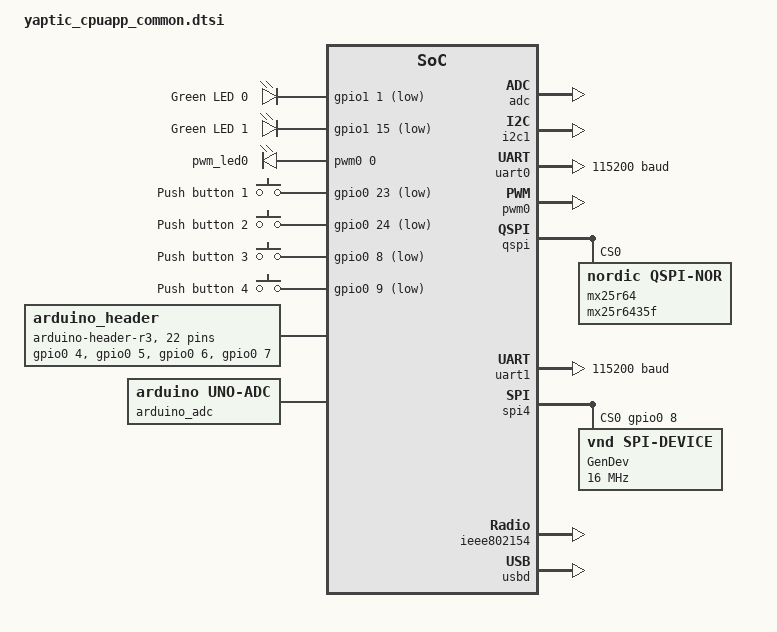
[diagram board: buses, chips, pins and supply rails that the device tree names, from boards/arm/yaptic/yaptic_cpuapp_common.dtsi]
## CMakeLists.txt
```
cmake_minimum_required(VERSION 3.20.0)

find_package(Zephyr REQUIRED HINTS $ENV{ZEPHYR_BASE})

project(simple-bmv080-connection)

# --- Source Files and Include Directories ---

target_include_directories(app PRIVATE
    src
    lib/arm_cortex_m33f
    lib
    )

target_sources(app PRIVATE
    src/main.c
    lib/i2c.c
    )

target_link_libraries(app PRIVATE
    ${CMAKE_SOURCE_DIR}/lib/arm_cortex_m33f/lib_bmv080.a
    ${CMAKE_SOURCE_DIR}/lib/arm_cortex_m33f/lib_postProcessor.a
    )
```

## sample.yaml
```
project:
  name: simple-bmv080-connection
```

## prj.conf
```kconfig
# --- Core System & Output ---
CONFIG_CONSOLE=y
CONFIG_STDOUT_CONSOLE=y
CONFIG_PRINTK=y

# --- Hardware Drivers ---
CONFIG_I2C=y
CONFIG_GPIO=y

# --- Floating Point Support ---
CONFIG_FP_HARDABI=y
CONFIG_FPU=y
CONFIG_FPU_SHARING=y

# --- Serial Communication ---
CONFIG_SERIAL=y
CONFIG_UART_CONSOLE=y
CONFIG_UART_INTERRUPT_DRIVEN=y

# --- Logging ---
CONFIG_LOG=y
CONFIG_LOG_PRINTK=y
CONFIG_LOG_MODE_IMMEDIATE=y
```

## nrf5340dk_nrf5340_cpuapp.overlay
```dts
/*
 * Devicetree overlay for the Bosch BMV080 Particulate Matter Sensor
 */

// &pinctrl {
//     i2c1_default: i2c1_default {
//         group1 {
//             psels = <NRF_PSEL(TWIM_SDA, 1, 2)>, /* P1.02 */
//                     <NRF_PSEL(TWIM_SCL, 1, 3)>; /* P1.03 */
//         };
//     };
// };

&i2c1 {
    compatible = "nordic,nrf-twim";
    status = "okay";
    pinctrl-0 = <&i2c1_default>;
    pinctrl-1 = <&i2c1_sleep>;
    pinctrl-names = "default", "sleep";

    /* This is your I2C sensor node */
    bmv080_node: bmv080@54 {
        compatible = "bosch,i2c-device";
        reg = <0x54>; /* This is the 7-bit I2C address */
        status = "okay";
    };
};

/ {
    aliases {
        bmv080 = &bmv080_node;
    };
};
```

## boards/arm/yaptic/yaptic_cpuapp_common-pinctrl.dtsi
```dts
/*
 * Copyright (c) 2022 Nordic Semiconductor
 * SPDX-License-Identifier: Apache-2.0
 */

&pinctrl {
i2c1_default: i2c1_default {
		group1 {
			psels = <NRF_PSEL(TWIM_SDA, 1, 2)>,
				<NRF_PSEL(TWIM_SCL, 1, 3)>;
		};
	};

	i2c1_sleep: i2c1_sleep {
		group1 {
			psels = <NRF_PSEL(TWIM_SDA, 1, 2)>,
				<NRF_PSEL(TWIM_SCL, 1, 3)>;
			low-power-enable;
		};
	};

	uart0_default: uart0_default {
		group1 {
			psels = <NRF_PSEL(UART_TX, 0, 20)>,
				<NRF_PSEL(UART_RTS, 0, 19)>;
		};
		group2 {
			psels = <NRF_PSEL(UART_RX, 0, 22)>,
				<NRF_PSEL(UART_CTS, 0, 21)>;
			bias-pull-up;
		};
	};

	uart0_sleep: uart0_sleep {
		group1 {
			psels = <NRF_PSEL(UART_TX, 0, 20)>,
				<NRF_PSEL(UART_RX, 0, 22)>,
				<NRF_PSEL(UART_RTS, 0, 19)>,
				<NRF_PSEL(UART_CTS, 0, 21)>;
			low-power-enable;
		};
	};

	pwm0_default: pwm0_default {
		group1 {
			psels = <NRF_PSEL(PWM_OUT0, 0, 6)>; //pwm output channel 0 to gpio channel 1 pin 1
		};
	};

	pwm0_sleep: pwm0_sleep {
		group1 {
			psels = <NRF_PSEL(PWM_OUT0, 0, 6)>; 
			low-power-enable;
		};
	};

	qspi_default: qspi_default {
		group1 {
			psels = <NRF_PSEL(QSPI_SCK, 0, 17)>,
				<NRF_PSEL(QSPI_IO0, 0, 13)>,
				<NRF_PSEL(QSPI_IO1, 0, 14)>,
				<NRF_PSEL(QSPI_IO2, 0, 15)>,
				<NRF_PSEL(QSPI_IO3, 0, 16)>,
				<NRF_PSEL(QSPI_CSN, 0, 18)>;
			nordic,drive-mode = <NRF_DRIVE_H0H1>;
		};
	};

	qspi_sleep: qspi_sleep {
		group1 {
			psels = <NRF_PSEL(QSPI_SCK, 0, 17)>,
				<NRF_PSEL(QSPI_IO0, 0, 13)>,
				<NRF_PSEL(QSPI_IO1, 0, 14)>,
				<NRF_PSEL(QSPI_IO2, 0, 15)>,
				<NRF_PSEL(QSPI_IO3, 0, 16)>;
			low-power-enable;
		};
		group2 {
			psels = <NRF_PSEL(QSPI_CSN, 0, 18)>;
			low-power-enable;
			bias-pull-up;
		};
	};

	uart1_default: uart1_default {
		group1 {
			psels = <NRF_PSEL(UART_TX, 1, 1)>,
				<NRF_PSEL(UART_RTS, 0, 11)>;
		};
		group2 {
			psels = <NRF_PSEL(UART_RX, 1, 0)>,
				<NRF_PSEL(UART_CTS, 0, 10)>;
			bias-pull-up;
		};
	};

	uart1_sleep: uart1_sleep {
		group1 {
			psels = <NRF_PSEL(UART_TX, 1, 1)>,
				<NRF_PSEL(UART_RX, 1, 0)>,
				<NRF_PSEL(UART_RTS, 0, 11)>,
				<NRF_PSEL(UART_CTS, 0, 10)>;
			low-power-enable;
		};
	};

	spi4_default: spi4_default {
		group1 {
			psels = <NRF_PSEL(SPIM_SCK, 1, 15)>,
				<NRF_PSEL(SPIM_MISO, 1, 14)>,
				<NRF_PSEL(SPIM_MOSI, 1, 13)>;
		};
	};

	spi4_sleep: spi4_sleep {
		group1 {
			psels = <NRF_PSEL(SPIM_SCK, 1, 15)>,
				<NRF_PSEL(SPIM_MISO, 1, 14)>,
				<NRF_PSEL(SPIM_MOSI, 1, 13)>;
			low-power-enable;
		};
	};
};
```

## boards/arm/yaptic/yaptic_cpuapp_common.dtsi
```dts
/*
 * Copyright (c) 2019-2020 Nordic Semiconductor ASA
 *
 * SPDX-License-Identifier: Apache-2.0
 */
#include "yaptic_cpuapp_common-pinctrl.dtsi"
#include <zephyr/dt-bindings/input/input-event-codes.h>

/ {

	chosen {
		zephyr,console = &uart0;
		zephyr,shell-uart = &uart0;
		zephyr,uart-mcumgr = &uart0;
		zephyr,bt-mon-uart = &uart0;
		zephyr,bt-c2h-uart = &uart0;
		zephyr,bt-hci-ipc = &ipc0;
		nordic,802154-spinel-ipc = &ipc0;
		zephyr,ieee802154 = &ieee802154;
	};

	leds {
		compatible = "gpio-leds";
		led0: led_0 {
			gpios = <&gpio1 1 GPIO_ACTIVE_LOW>;
			label = "Green LED 0";
		};
		led1: led_1 {
			gpios = <&gpio1 15 GPIO_ACTIVE_LOW>; 
			label = "Green LED 1";
		};
		/* commented out for the purpose of using the motor
		led2: led_2 {
			gpios = <&gpio0 30 GPIO_ACTIVE_LOW>;
			label = "Green LED 2";
		};
		led3: led_3 {
			gpios = <&gpio0 31 GPIO_ACTIVE_LOW>;
			label = "Green LED 3";
		};*/
	};

	pwmleds {
		compatible = "pwm-leds";
		pwm_led0: pwm_led_0 {
			pwms = <&pwm0 0 PWM_MSEC(20) PWM_POLARITY_INVERTED>;
		};
	};

	buttons {
		compatible = "gpio-keys";
		button0: button_0 {
			gpios = <&gpio0 23 (GPIO_PULL_UP | GPIO_ACTIVE_LOW)>;
			label = "Push button 1";
			zephyr,code = <INPUT_KEY_0>;
		};
		button1: button_1 {
			gpios = <&gpio0 24 (GPIO_PULL_UP | GPIO_ACTIVE_LOW)>;
			label = "Push button 2";
			zephyr,code = <INPUT_KEY_1>;
		};
		button2: button_2 {
			gpios = <&gpio0 8 (GPIO_PULL_UP | GPIO_ACTIVE_LOW)>;
			label = "Push button 3";
			zephyr,code = <INPUT_KEY_2>;
		};
		button3: button_3 {
			gpios = <&gpio0 9 (GPIO_PULL_UP | GPIO_ACTIVE_LOW)>;
			label = "Push button 4";
			zephyr,code = <INPUT_KEY_3>;
		};
	};

	arduino_header: connector {
		compatible = "arduino-header-r3";
		#gpio-cells = <2>;
		gpio-map-mask = <0xffffffff 0xffffffc0>;
		gpio-map-pass-thru = <0 0x3f>;
		gpio-map = <0 0 &gpio0 4 0>,	/* A0 */
			   <1 0 &gpio0 5 0>,	/* A1 */
			   <2 0 &gpio0 6 0>,	/* A2 */
			   <3 0 &gpio0 7 0>,	/* A3 */
			   <4 0 &gpio0 25 0>,	/* A4 */
			   <5 0 &gpio0 26 0>,	/* A5 */
			   <6 0 &gpio1 0 0>,	/* D0 */
			   <7 0 &gpio1 1 0>,	/* D1 */
			   <8 0 &gpio1 4 0>,	/* D2 */
			   <9 0 &gpio1 5 0>,	/* D3 */
			   <10 0 &gpio1 6 0>,	/* D4 */
			   <11 0 &gpio1 7 0>,	/* D5 */
			   <12 0 &gpio1 8 0>,	/* D6 */
			   <13 0 &gpio1 9 0>,	/* D7 */
			   <14 0 &gpio1 10 0>,	/* D8 */
			   <15 0 &gpio1 11 0>,	/* D9 */
			   <16 0 &gpio1 12 0>,	/* D10 */
			   <17 0 &gpio1 13 0>,	/* D11 */
			   <18 0 &gpio1 14 0>,	/* D12 */
			   <19 0 &gpio1 15 0>,	/* D13 */
			   <20 0 &gpio1 2 0>,	/* D14 */
			   <21 0 &gpio1 3 0>;	/* D15 */
	};

	arduino_adc: analog-connector {
		compatible = "arduino,uno-adc";
		#io-channel-cells = <1>;
		io-channel-map = <0 &adc 0>,	/* A0 = P0.4 = AIN0 */
				 <1 &adc 1>,	/* A1 = P0.5 = AIN1 */
				 <2 &adc 2>,	/* A2 = P0.6 = AIN2 */
				 <3 &adc 3>,	/* A3 = P0.7 = AIN3 */
				 <4 &adc 4>,	/* A4 = P0.25 = AIN4 */
				 <5 &adc 5>;	/* A5 = P0.26 = AIN5 */
	};

	gpio_fwd: nrf-gpio-forwarder {
		compatible = "nordic,nrf-gpio-forwarder";
		status = "okay";
		uart {
			gpios = <&gpio1 1 0>, <&gpio1 0 0>, <&gpio0 11 0>, <&gpio0 10 0>;
		};
	};

	/* These aliases are provided for compatibility with samples */
	aliases {
		led0 = &led0;
		led1 = &led1;
		//led2 = &led2;
		//led3 = &led3;
		pwm-led0 = &pwm_led0;
		sw0 = &button0;
		sw1 = &button1;
		sw2 = &button2;
		sw3 = &button3;
		bootloader-led0 = &led0;
		mcuboot-button0 = &button0;
		mcuboot-led0 = &led0;
		watchdog0 = &wdt0;
		spi-flash0 = &mx25r64;
	};
};

&adc {
	status = "okay";
};

&gpiote {
	status = "okay";
};

&gpio0 {
	status = "okay";
};

&gpio1 {
	status = "okay";
};

&i2c1 {
	compatible = "nordic,nrf-twim";
	status = "okay";
	pinctrl-0 = <&i2c1_default>;
	pinctrl-1 = <&i2c1_sleep>;
	pinctrl-names = "default", "sleep";
};

&uart0 {
	status = "okay";
	current-speed = <115200>;
	pinctrl-0 = <&uart0_default>;
	pinctrl-1 = <&uart0_sleep>;
	pinctrl-names = "default", "sleep";
};

&pwm0 {
	status = "okay";
	pinctrl-0 = <&pwm0_default>;
	pinctrl-1 = <&pwm0_sleep>;
	pinctrl-names = "default", "sleep";
};

&qspi {
	status = "okay";
	pinctrl-0 = <&qspi_default>;
	pinctrl-1 = <&qspi_sleep>;
	pinctrl-names = "default", "sleep";
	mx25r64: mx25r6435f@0 {
		compatible = "nordic,qspi-nor";
		reg = <0>;
		/* MX25R64 supports only pp and pp4io */
		writeoc = "pp4io";
		/* MX25R64 supports all readoc options */
		readoc = "read4io";
		sck-frequency = <8000000>;
		jedec-id = [c2 28 17];
		sfdp-bfp = [
			e5 20 f1 ff  ff ff ff 03  44 eb 08 6b  08 3b 04 bb
			ee ff ff ff  ff ff 00 ff  ff ff 00 ff  0c 20 0f 52
			10 d8 00 ff  23 72 f5 00  82 ed 04 cc  44 83 68 44
			30 b0 30 b0  f7 c4 d5 5c  00 be 29 ff  f0 d0 ff ff
		];
		size = <67108864>;
		has-dpd;
		t-enter-dpd = <10000>;
		t-exit-dpd = <35000>;
	};
};

arduino_serial: &uart1 {
	compatible = "nordic,nrf-uarte";
	current-speed = <115200>;
	pinctrl-0 = <&uart1_default>;
	pinctrl-1 = <&uart1_sleep>;
	pinctrl-names = "default", "sleep";
};

arduino_i2c: &i2c1 {};
/**/
spi4: &spi4 {
	compatible = "nordic,nrf-spim";
	status = "okay";
	cs-gpios = <&gpio0 8 GPIO_ACTIVE_HIGH>; /* D10 */
	pinctrl-0 = <&spi4_default>;
	pinctrl-1 = <&spi4_sleep>;
	pinctrl-names = "default", "sleep";
	overrun-character = <0>;
	gendev: gendev@0 {
		compatible = "vnd,spi-device";
		reg = <0>;
		spi-max-frequency = <16000000>;
		label = "GenDev";
};
};

&flash0 {

	partitions {
		compatible = "fixed-partitions";
		#address-cells = <1>;
		#size-cells = <1>;

		boot_partition: partition@0 {
			label = "mcuboot";
			reg = <0x00000000 0x00010000>;
		};
		slot0_partition: partition@10000 {
			label = "image-0";
		};
		slot0_ns_partition: partition@50000 {
			label = "image-0-nonsecure";
		};
		slot1_partition: partition@80000 {
			label = "image-1";
		};
		slot1_ns_partition: partition@c0000 {
			label = "image-1-nonsecure";
		};
		/* 0xf0000 to 0xf7fff reserved for TF-M partitions */
		storage_partition: partition@f8000 {
			label = "storage";
			reg = <0x000f8000 0x00008000>;
		};
	};
};

&ieee802154 {
	status = "okay";
};

zephyr_udc0: &usbd {
	compatible = "nordic,nrf-usbd";
	status = "okay";
};

/ {

	reserved-memory {
		#address-cells = <1>;
		#size-cells = <1>;
		ranges;

		sram0_image: image@20000000 {
			/* Zephyr image(s) memory */
		};

		sram0_s: image_s@20000000 {
			/* Secure image memory */
		};

		sram0_ns: image_ns@20040000 {
			/* Non-Secure image memory */
		};
	};
};


/* Include partition configuration file */
#include "yaptic_cpuapp_partition_conf.dtsi"
```

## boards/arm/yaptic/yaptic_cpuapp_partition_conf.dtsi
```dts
/*
 * Copyright (c) 2019-2020 Nordic Semiconductor ASA
 *
 * SPDX-License-Identifier: Apache-2.0
 */

/*
 * Default Flash planning for nrf5340dk_nrf5340 CPUAPP (Application MCU).
 *
 * Zephyr build for nRF5340 with ARM TrustZone-M support,
 * implies building Secure and Non-Secure Zephyr images.
 *
 * Secure image will be placed, by default, in flash0
 * (or in slot0, if MCUboot is present).
 * Secure image will use sram0 for system memory.
 *
 * Non-Secure image will be placed in slot0_ns, and use
 * sram0_ns for system memory.
 *
 * Note that the Secure image only requires knowledge of
 * the beginning of the Non-Secure image (not its size).
 */

&slot0_partition {
	reg = <0x00010000 0x40000>;
};

&slot0_ns_partition {
	reg = <0x00050000 0x30000>;
};

&slot1_partition {
	reg = <0x00080000 0x40000>;
};

&slot1_ns_partition {
	reg = <0x000c0000 0x30000>;
};

/* Default SRAM planning when building for nRF5340 with
 * ARM TrustZone-M support
 * - Lowest 256 kB SRAM allocated to Secure image (sram0_s)
 * - Middle 192 kB allocated to Non-Secure image (sram0_ns)
 * - Upper 64 kB SRAM allocated as Shared memory (sram0_shared)
 *   (see nrf5340_shared_sram_planning_conf.dtsi)
 */
&sram0_image {
	reg = <0x20000000 DT_SIZE_K(448)>;
};

&sram0_s {
	reg = <0x20000000 0x40000>;
};

&sram0_ns {
	reg = <0x20040000 0x30000>;
};

/* Include shared RAM configuration file */
#include "yaptic_shared_sram_planning_conf.dtsi"
```

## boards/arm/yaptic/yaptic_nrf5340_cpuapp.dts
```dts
/*
 * Copyright (c) 2020 Nordic Semiconductor ASA
 *
 * SPDX-License-Identifier: Apache-2.0
 */

/dts-v1/;
#include <nordic/nrf5340_cpuapp_qkaa.dtsi>
#include "yaptic_cpuapp_common.dtsi"

/ {
	model = "Nordic NRF5340 DK NRF5340 Application";
	compatible = "nordic,yaptic-nrf5340-cpuapp";

	chosen {
		zephyr,sram = &sram0_image;
		zephyr,flash = &flash0;
		zephyr,code-partition = &slot0_partition;
		zephyr,sram-secure-partition = &sram0_s;
		zephyr,sram-non-secure-partition = &sram0_ns;
	};

};
```

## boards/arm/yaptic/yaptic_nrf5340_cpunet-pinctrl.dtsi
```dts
/*
 * Copyright (c) 2022 Nordic Semiconductor
 * SPDX-License-Identifier: Apache-2.0
 */

&pinctrl {


};
```

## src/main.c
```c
#include <zephyr/kernel.h>
#include <zephyr/logging/log.h>
#include <string.h>
#include <zephyr/drivers/gpio.h>

/* --- Our Header Files --- */
#include "bmv080.h"
#include "i2c_header.h"

LOG_MODULE_REGISTER(main, LOG_LEVEL_INF);

/* --- Devicetree and Global Variables --- */

#define DEBUG 1

#define BMV080_NODE DT_ALIAS(bmv080)
static const struct i2c_dt_spec bmv080_dev = I2C_DT_SPEC_GET(BMV080_NODE);

#define LED0_NODE DT_ALIAS(led0)
static const struct gpio_dt_spec led = GPIO_DT_SPEC_GET(LED0_NODE, gpios);

static bmv080_handle_t bmv080_handle = NULL;
static volatile uint32_t data_ready_callback_count = 0;

/* --- Callback Functions for Bosch Driver --- */

static int8_t bmv080_i2c_read(bmv080_sercom_handle_t sercom_handle, uint8_t *data, uint32_t len)
{
    const struct i2c_dt_spec *dev = (const struct i2c_dt_spec *)sercom_handle;
    int32_t rc = i2c_driver_read(dev, data, len);
    return (rc == 0) ? E_BMV080_OK : E_BMV080_ERROR_HW_READ;
}

static int8_t bmv080_i2c_write(bmv080_sercom_handle_t sercom_handle, const uint8_t *data, uint32_t len)
{
    const struct i2c_dt_spec *dev = (const struct i2c_dt_spec *)sercom_handle;
    int32_t rc = i2c_driver_write(dev, data, len);
    return (rc == 0) ? E_BMV080_OK : E_BMV080_ERROR_HW_WRITE;
}

static int8_t bmv080_delay_ms(uint32_t period_ms)
{
    k_msleep(period_ms);
    return E_BMV080_OK;
}

static uint32_t bmv080_get_tick_ms(void)
{
    return k_uptime_get_32();
}

/* Print Sensor Data to Serial Terminal*/
static void print_sensor_output(bmv080_output_t bmv080_output, void *callback_parameters)
{
    data_ready_callback_count++;
    printk("Runtime: %.2fs, PM1: %.0f ug/m3, PM2.5: %.0f ug/m3, PM10: %.0f ug/m3, Obstructed: %s\n",
           bmv080_output.runtime_in_sec,
           bmv080_output.pm1_mass_concentration,
           bmv080_output.pm2_5_mass_concentration,
           bmv080_output.pm10_mass_concentration,
           (bmv080_output.is_obstructed ? "yes" : "no"));
}

int main(void)
{
    if (DEBUG) {
        printk("Attempting to configure LED.");
    }

    if (!gpio_is_ready_dt(&led) || gpio_pin_configure_dt(&led, GPIO_OUTPUT_ACTIVE) < 0) {
        return 0;
    }

    if (DEBUG) {
        printk("Configured LED.");
    }

    bmv080_status_code_t status = E_BMV080_OK;
    bmv080_status_code_t final_status = E_BMV080_OK;

    printk("\n--- BMV080 Concentration Measurement Example ---\n");

    if (!device_is_ready(bmv080_dev.bus)) {
        printk("I2C bus is not ready!\n");
        return 0;
    }

    /* Get Driver Version */
    uint16_t major = 0;
    uint16_t minor = 0;
    uint16_t patch = 0;
    status = bmv080_get_driver_version(&major, &minor, &patch, NULL, NULL);
    if (status != E_BMV080_OK) {
        printk("Failed to get driver version. Error: %d\n", status);
        final_status = status;
        goto exit_main;
    }
    printk("Bosch Driver Version: %d.%d.%d\n", major, minor, patch);

    /* Open Sensor */
    status = bmv080_open(&bmv080_handle, (bmv080_sercom_handle_t)&bmv080_dev, bmv080_i2c_read, bmv080_i2c_write, bmv080_delay_ms);
    if (status != E_BMV080_OK) {
        printk("Failed to open BMV080 sensor. Error: %d\n", status);
        final_status = status;
        goto exit_main;
    }
    printk("Sensor opened successfully.\n");

    /* Reset Sensor */
    status = bmv080_reset(bmv080_handle);
    if (status != E_BMV080_OK) {
        printk("Failed to reset BMV080 sensor. Error: %d\n", status);
        final_status = status;
        goto close_sensor;
    }
    printk("Sensor reset successfully.\n");

    /* Get Sensor ID */
    char id[13];
    memset(id, 0, sizeof(id));
    status = bmv080_get_sensor_id(bmv080_handle, id);
    if (status != E_BMV080_OK) {
        printk("Failed to get sensor ID. Error: %d\n", status);
        final_status = status;
        goto close_sensor;
    }
    printk("Sensor ID: %s\n\n", id);

    /* Set Measurement Algorithm
        1 = Fast Response
        2 = Balanced
        3 = High Precision
    */
    bmv080_measurement_algorithm_t measurement_algorithm = E_BMV080_MEASUREMENT_ALGORITHM_BALANCED;
    status = bmv080_set_parameter(bmv080_handle,"measurement_algorithm", (void*)&measurement_algorithm);
    if (status != E_BMV080_OK) {
        printk("Failed to set measurement algorithm. Error: %d\n", status);
        final_status = status;
        goto close_sensor;
    }
    printk("Measurement Algorithm: %d\n\n", measurement_algorithm);

    /* ================== Continuous Measurement ==================*/
    printk("=== Starting Continuous Measurement ===\n");
    status = bmv080_start_continuous_measurement(bmv080_handle);
    if (status != E_BMV080_OK) {
        printk("Failed to start continuous measurement. Error: %d\n", status);
        final_status = status;
        goto close_sensor;
    }

    /* For continuous_measurement_duration seconds, 
        -print output data
        -toggle the LED to indicate measuremeant
        -delay by 100 ms to increase accuracy
    */
    data_ready_callback_count = 0;
    uint32_t continuous_measurement_duration = 60;
    while (data_ready_callback_count < continuous_measurement_duration) {
        bmv080_serve_interrupt(bmv080_handle, print_sensor_output, NULL);
        gpio_pin_toggle_dt(&led);
        bmv080_delay_ms(100);
    }

    status = bmv080_stop_measurement(bmv080_handle);
    printk("=== Continuous Measurement Stopped ===\n\n");

    /* ================== Duty Cycling ==================*/
    printk("=== Starting Duty-Cycled Measurement ===\n");

    uint16_t duty_cycle_period = 20;
    status = bmv080_set_parameter(bmv080_handle, "duty_cycling_period", &duty_cycle_period);
    printk("Set duty cycle period to %u seconds\n", duty_cycle_period);

    bmv080_duty_cycling_mode_t duty_cycling_mode = E_BMV080_DUTY_CYCLING_MODE_0;
    status = bmv080_start_duty_cycling_measurement(bmv080_handle, bmv080_get_tick_ms, duty_cycling_mode);
     if (status != E_BMV080_OK) {
        printk("Failed to start duty-cycled measurement. Error: %d\n", status);
        final_status = status;
        goto close_sensor;
    }

    /* For duty_cycling_duration seconds, 
        -print output data
        -toggle the LED to indicate measuremeant
        -delay by 100 ms to increase accuracy
    */
    data_ready_callback_count = 0;
    uint32_t duty_cycling_duration = 60;
    while ((data_ready_callback_count * duty_cycle_period) < duty_cycling_duration) {
        bmv080_serve_interrupt(bmv080_handle, print_sensor_output, NULL);
        gpio_pin_toggle_dt(&led);
        bmv080_delay_ms(100);
    }

    status = bmv080_stop_measurement(bmv080_handle);
    printk("=== Duty-Cycled Measurement Stopped ===\n\n");

close_sensor:
    status = bmv080_close(&bmv080_handle);
    if (status != E_BMV080_OK) {
        printk("Failed to close BMV080 sensor. Error: %d\n", status);
        if (final_status == E_BMV080_OK) final_status = status;
    }
    printk("Sensor closed.\n");

exit_main:
    printk("Example finished with final status code: %d\n", final_status);
    return 0;
}
```
